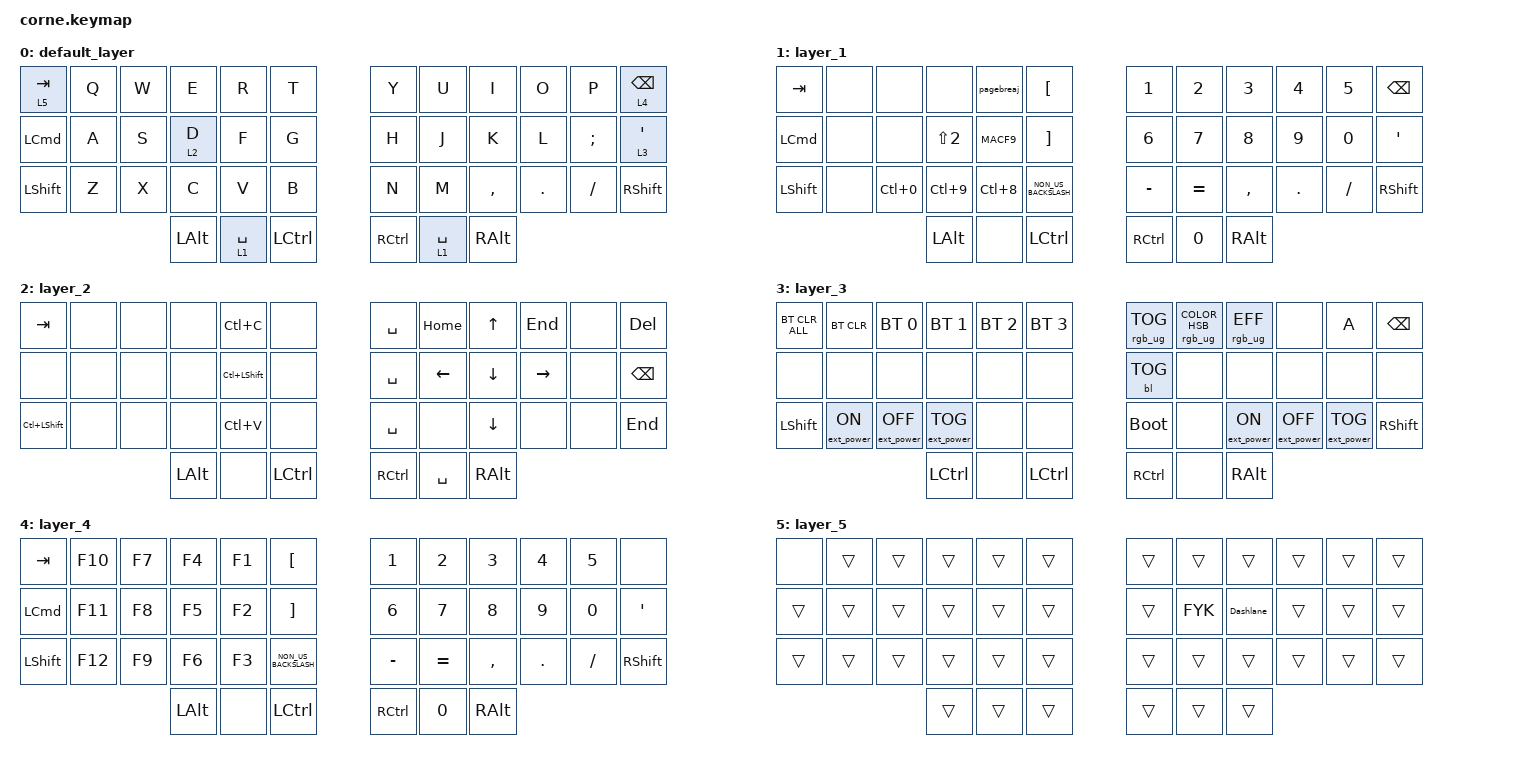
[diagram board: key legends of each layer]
/*
 * Copyright (c) 2020 The ZMK Contributors
 *
 * SPDX-License-Identifier: MIT
 */

#include <behaviors.dtsi>
#include <dt-bindings/zmk/backlight.h>
#include <dt-bindings/zmk/bt.h>
#include <dt-bindings/zmk/ext_power.h>
#include <dt-bindings/zmk/keys.h>
#include <dt-bindings/zmk/rgb.h>

&led_strip { chain-length = <27>; };

&caps_word { continue-list = <UNDERSCORE MINUS SPACE SQT BSPC DELETE COMMA DOT FSLH SEMI>; };

/ {
    combos {
        compatible = "zmk,combos";

        space {
            bindings = <&kp SPACE>;
            key-positions = <19 20>;
        };

        enter {
            bindings = <&kp ENTER>;
            key-positions = <20 21>;
        };

        del_word {
            bindings = <&kp LC(BACKSPACE)>;
            key-positions = <21 22>;
        };

        MaxCreen {
            bindings = <&kp LG(UP_ARROW)>;
            key-positions = <6 7>;
        };

        Copy {
            bindings = <&kp LC(C)>;
            key-positions = <2 3>;
        };

        paste {
            bindings = <&kp LC(V)>;
            key-positions = <15 16>;
        };

        cut {
            bindings = <&kp LC(X)>;
            key-positions = <2 1>;
        };

        screenshot {
            bindings = <&kp LS(LG(S))>;
            key-positions = <13 14>;
        };

        CapLock {
            bindings = <&caps_word>;
            key-positions = <35 24>;
        };

        Escape {
            bindings = <&kp ESCAPE>;
            key-positions = <0 1>;
        };
    };

    macros {
        FYK: FYK {
            compatible = "zmk,behavior-macro";
            #binding-cells = <0>;
            bindings = <&none &kp LS(F) &kp LS(Y) &kp LS(K) &kp J &kp P &kp AT &kp N2 &kp N0 &kp N2 &kp N2 &kp RET>;
            label = "FYK";
        };

        Dashlane: Dashlane {
            compatible = "zmk,behavior-macro";
            #binding-cells = <0>;
            bindings = <&none &kp LS(C) &kp R &kp E &kp A &kp M &kp DOT &kp LS(C) &kp R &kp E &kp A &kp M &kp ENTER>;
            label = "DASHLANE";
        };

        MACF9: MACF9 {
            compatible = "zmk,behavior-macro";
            #binding-cells = <0>;
            bindings = <&kp LC(A) &kp F9 &kp LA(LEFT_ARROW)>;
            label = "MACF9";
        };

        pagebreaj: Pagwbreak {
            compatible = "zmk,behavior-macro";
            #binding-cells = <0>;
            bindings = <&kp LA(P) &kp LA(B) &kp LA(N)>;
            label = "PAGWBREAK";
        };
    };

    keymap {
        compatible = "zmk,keymap";

        default_layer {
            // -----------------------------------------------------------------------------------------
            // |  TAB |  Q  |  W  |  E  |  R  |  T  |   |  Y  |  U   |  I  |  O  |  P  | BKSP |
            // | CTRL |  A  |  S  |  D  |  F  |  G  |   |  H  |  J   |  K  |  L  |  ;  |  '   |
            // | SHFT |  Z  |  X  |  C  |  V  |  B  |   |  N  |  M   |  ,  |  .  |  /  | SHFT |
            //                    | GUI | LWR | ENT |   | SPC | RSE  | ALT |

            bindings = <
&lt 5 TAB   &kp Q  &kp W  &kp E         &kp R        &kp T               &kp Y              &kp U        &kp I          &kp O    &kp P     &lt 4 BACKSPACE
&kp LCMD    &kp A  &kp S  &lt 2 D       &kp F        &kp G               &kp H              &kp J        &kp K          &kp L    &kp SEMI  &lt 3 SQT
&kp LSHIFT  &kp Z  &kp X  &kp C         &kp V        &kp B               &kp N              &kp M        &kp COMMA      &kp DOT  &kp FSLH  &kp RSHIFT
                          &kp LEFT_ALT  &lt 1 SPACE  &kp LEFT_CONTROL    &kp RIGHT_CONTROL  &lt 1 SPACE  &kp RIGHT_ALT
            >;
        };

        layer_1 {
            bindings = <
&kp TAB     &none  &none       &none             &pagebreaj  &kp LEFT_BRACKET        &kp NUMBER_1  &kp NUMBER_2  &kp NUMBER_3  &kp NUMBER_4  &kp NUMBER_5  &kp BSPC
&kp LCMD    &none  &none       &kp LS(NUMBER_2)  &MACF9      &kp RIGHT_BRACKET       &kp NUMBER_6  &kp NUMBER_7  &kp NUMBER_8  &kp NUMBER_9  &kp NUMBER_0  &kp SQT
&kp LSHIFT  &none  &kp LC(N0)  &kp LC(N9)        &kp LC(N8)  &kp NON_US_BACKSLASH    &kp MINUS     &kp EQUAL     &kp COMMA     &kp PERIOD    &kp SLASH     &kp RIGHT_SHIFT
                               &kp LEFT_ALT      &none       &kp LCTRL               &kp RCTRL     &kp N0        &kp RALT
            >;
        };

        layer_2 {
            bindings = <
&kp TAB         &none  &none  &none         &kp LC(C)      &none        &kp SPACE  &kp HOME   &kp UP_ARROW    &kp END    &none  &kp DELETE
&none           &none  &none  &none         &kp LC(LSHFT)  &none        &kp SPACE  &kp LEFT   &kp DOWN_ARROW  &kp RIGHT  &none  &kp BACKSPACE
&kp LC(LSHIFT)  &none  &none  &none         &kp LC(V)      &none        &kp SPACE  &none      &kp DOWN        &none      &none  &kp END
                              &kp LEFT_ALT  &none          &kp LCTRL    &kp RCTRL  &kp SPACE  &kp RIGHT_ALT
            >;
        };

        layer_3 {
            bindings = <
&bt BT_CLR_ALL  &bt BT_CLR        &bt BT_SEL 0       &bt BT_SEL 1       &bt BT_SEL 2  &bt BT_SEL 3    &rgb_ug RGB_TOG  &rgb_ug RGB_COLOR_HSB(58,0,93)  &rgb_ug RGB_EFF   &none              &kp A              &kp BSPC
&none           &none             &none              &none              &none         &none           &bl BL_TOG       &none                           &none             &none              &none              &none
&kp LSHIFT      &ext_power EP_ON  &ext_power EP_OFF  &ext_power EP_TOG  &none         &none           &bootloader      &none                           &ext_power EP_ON  &ext_power EP_OFF  &ext_power EP_TOG  &kp RSHIFT
                                                     &kp LCTRL          &none         &kp LCTRL       &kp RCTRL        &none                           &kp RIGHT_ALT
            >;
        };

        layer_4 {
            bindings = <
&kp TAB     &kp F10  &kp F7  &kp F4        &kp F1  &kp LEFT_BRACKET        &kp NUMBER_1  &kp NUMBER_2  &kp NUMBER_3  &kp NUMBER_4  &kp NUMBER_5  &none
&kp LCMD    &kp F11  &kp F8  &kp F5        &kp F2  &kp RIGHT_BRACKET       &kp NUMBER_6  &kp NUMBER_7  &kp NUMBER_8  &kp NUMBER_9  &kp NUMBER_0  &kp SQT
&kp LSHIFT  &kp F12  &kp F9  &kp F6        &kp F3  &kp NON_US_BACKSLASH    &kp MINUS     &kp EQUAL     &kp COMMA     &kp PERIOD    &kp SLASH     &kp RIGHT_SHIFT
                             &kp LEFT_ALT  &none   &kp LCTRL               &kp RCTRL     &kp N0        &kp RALT
            >;
        };

        layer_5 {
            bindings = <
&none   &trans  &trans  &trans  &trans  &trans    &trans  &trans  &trans     &trans  &trans  &trans
&trans  &trans  &trans  &trans  &trans  &trans    &trans  &FYK    &Dashlane  &trans  &trans  &trans
&trans  &trans  &trans  &trans  &trans  &trans    &trans  &trans  &trans     &trans  &trans  &trans
                        &trans  &trans  &trans    &trans  &trans  &trans
            >;
        };
    };
};
